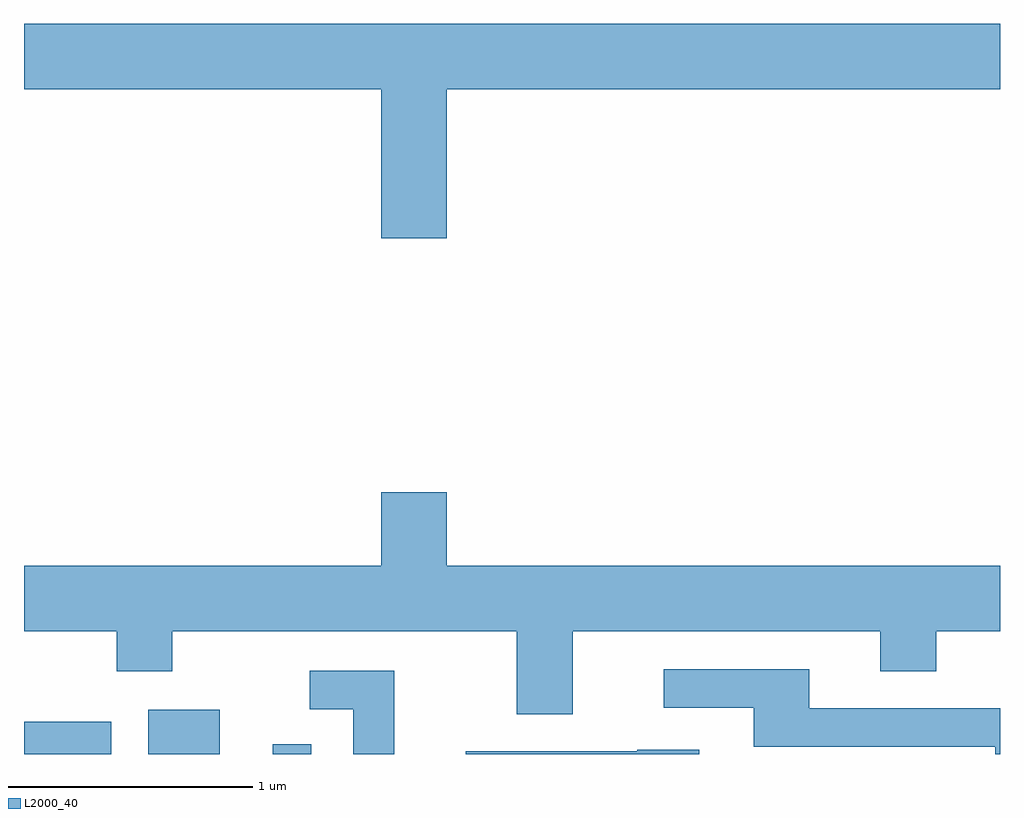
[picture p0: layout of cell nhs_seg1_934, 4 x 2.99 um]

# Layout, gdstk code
import gdstk
lib = gdstk.Library(unit=1e-6, precision=1e-09)
def R(c, l, rs):  # rectangles x0, y0, x1, y1
    for r in rs: c.add(gdstk.rectangle(r[:2], r[2:], *l))
def P(c, l, *ps):  # polygons
    for p in ps: c.add(gdstk.Polygon(p, *l))
L2000_40 = (2000, 40)

nhs_seg1_934 = lib.new_cell('nhs_seg1_934')
R(nhs_seg1_934, L2000_40, [(213.611,925.712,213.969,925.844), (214.121,925.712,214.414,925.894), (214.631,925.712,214.789,925.753)])
P(nhs_seg1_934, L2000_40, [(215.344,928.436),(217.611,928.436),(217.611,928.704),(213.611,928.704),(213.611,928.436),(215.076,928.436),(215.076,927.826),(215.344,927.826)],
  [(215.859,926.216),(217.121,926.216),(217.121,926.051),(217.349,926.051),(217.349,926.216),(217.611,926.216),(217.611,926.484),(215.344,926.484),(215.344,926.784),(215.076,926.784),(215.076,926.484),(213.611,926.484),(213.611,926.216),(213.991,926.216),(213.991,926.051),(214.219,926.051),(214.219,926.216),(215.631,926.216),(215.631,925.876),(215.859,925.876)],
  [(217.611,925.899),(216.829,925.899),(216.829,926.059),(216.233,926.059),(216.233,925.901),(216.601,925.901),(216.601,925.741),(217.591,925.741),(217.591,925.712),(217.611,925.712)],
  [(215.129,926.054),(214.783,926.054),(214.783,925.896),(214.961,925.896),(214.961,925.712),(215.129,925.712)],
  [(216.379,925.729),(216.125,925.729),(216.125,925.724),(215.421,925.724),(215.421,925.712),(216.379,925.712)])

lib.write_gds('nhs_seg1_934.gds')
